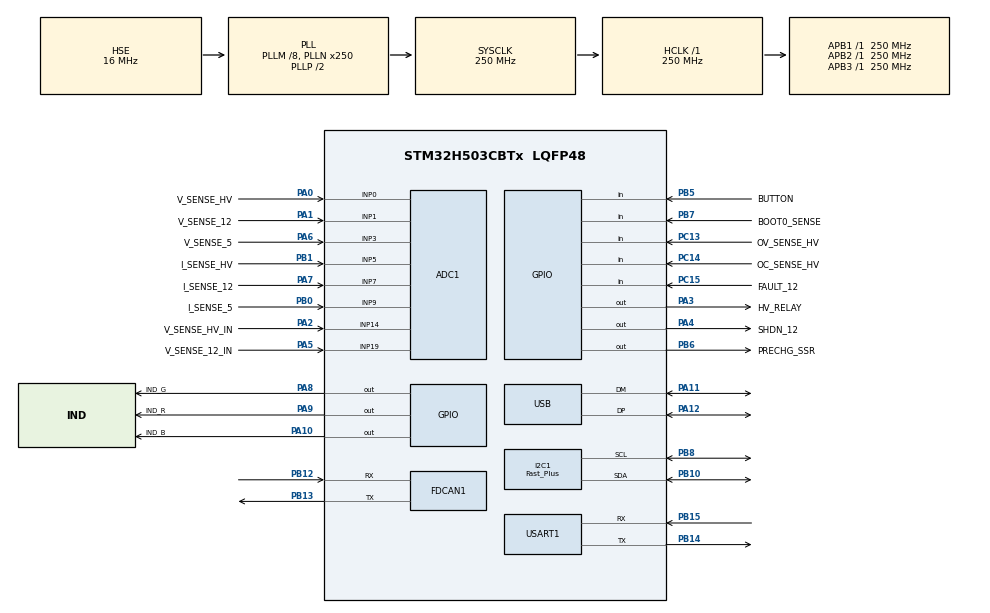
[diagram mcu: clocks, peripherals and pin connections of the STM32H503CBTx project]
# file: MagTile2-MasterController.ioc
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ADC1.Channel-0\#ChannelRegularConversion=ADC_CHANNEL_0
ADC1.Channel-1\#ChannelRegularConversion=ADC_CHANNEL_1
ADC1.Channel-2\#ChannelRegularConversion=ADC_CHANNEL_3
ADC1.Channel-3\#ChannelRegularConversion=ADC_CHANNEL_5
ADC1.Channel-4\#ChannelRegularConversion=ADC_CHANNEL_7
ADC1.Channel-5\#ChannelRegularConversion=ADC_CHANNEL_9
ADC1.Channel-6\#ChannelRegularConversion=ADC_CHANNEL_14
ADC1.Channel-7\#ChannelRegularConversion=ADC_CHANNEL_19
ADC1.ContinuousConvMode=ENABLE
ADC1.DMAContinuousRequests=ENABLE
ADC1.MonitoredBy-0\#ChannelRegularConversion=__NULL
ADC1.MonitoredBy-1\#ChannelRegularConversion=__NULL
ADC1.MonitoredBy-2\#ChannelRegularConversion=__NULL
ADC1.MonitoredBy-3\#ChannelRegularConversion=__NULL
ADC1.MonitoredBy-4\#ChannelRegularConversion=__NULL
ADC1.MonitoredBy-5\#ChannelRegularConversion=__NULL
ADC1.MonitoredBy-6\#ChannelRegularConversion=__NULL
ADC1.MonitoredBy-7\#ChannelRegularConversion=__NULL
ADC1.NbrOfConversion=8
ADC1.NbrOfConversionFlag=1
ADC1.OffsetNumber-0\#ChannelRegularConversion=ADC_OFFSET_NONE
ADC1.OffsetNumber-1\#ChannelRegularConversion=ADC_OFFSET_NONE
ADC1.OffsetNumber-2\#ChannelRegularConversion=ADC_OFFSET_NONE
ADC1.OffsetNumber-3\#ChannelRegularConversion=ADC_OFFSET_NONE
ADC1.OffsetNumber-4\#ChannelRegularConversion=ADC_OFFSET_NONE
ADC1.OffsetNumber-5\#ChannelRegularConversion=ADC_OFFSET_NONE
ADC1.OffsetNumber-6\#ChannelRegularConversion=ADC_OFFSET_NONE
ADC1.OffsetNumber-7\#ChannelRegularConversion=ADC_OFFSET_NONE
ADC1.OversamplingMode=ENABLE
ADC1.Rank-0\#ChannelRegularConversion=1
ADC1.Rank-1\#ChannelRegularConversion=2
ADC1.Rank-2\#ChannelRegularConversion=3
ADC1.Rank-3\#ChannelRegularConversion=4
ADC1.Rank-4\#ChannelRegularConversion=5
ADC1.Rank-5\#ChannelRegularConversion=6
ADC1.Rank-6\#ChannelRegularConversion=7
ADC1.Rank-7\#ChannelRegularConversion=8
ADC1.Ratio=ADC_OVERSAMPLING_RATIO_256
ADC1.RightBitShift=ADC_RIGHTBITSHIFT_4
ADC1.SamplingTime-0\#ChannelRegularConversion=ADC_SAMPLETIME_47CYCLES_5
ADC1.SamplingTime-1\#ChannelRegularConversion=ADC_SAMPLETIME_47CYCLES_5
ADC1.SamplingTime-2\#ChannelRegularConversion=ADC_SAMPLETIME_47CYCLES_5
ADC1.SamplingTime-3\#ChannelRegularConversion=ADC_SAMPLETIME_47CYCLES_5
ADC1.SamplingTime-4\#ChannelRegularConversion=ADC_SAMPLETIME_47CYCLES_5
ADC1.SamplingTime-5\#ChannelRegularConversion=ADC_SAMPLETIME_47CYCLES_5
ADC1.SamplingTime-6\#ChannelRegularConversion=ADC_SAMPLETIME_47CYCLES_5
ADC1.SamplingTime-7\#ChannelRegularConversion=ADC_SAMPLETIME_47CYCLES_5
ADC1.master=1
BOOTPATH.BootPathName=LEGACY
BOOTPATH.UserSelectedBootPath=LEGACY
DTS.Divider=100
DTS.SamplingTime=DTS_SMP_TIME_15_CYCLE
FDCAN1.CalculateBaudRateNominal=500000
FDCAN1.CalculateTimeBitNominal=2000
FDCAN1.CalculateTimeQuantumNominal=100.0
FDCAN1.DataPrescaler=6
FDCAN1.DataSyncJumpWidth=4
FDCAN1.DataTimeSeg1=16
FDCAN1.DataTimeSeg2=8
FDCAN1.FrameFormat=FDCAN_FRAME_FD_BRS
FDCAN1.NominalPrescaler=25
FDCAN1.NominalSyncJumpWidth=4
FDCAN1.NominalTimeSeg1=13
FDCAN1.NominalTimeSeg2=6
GPDMA1.CIRCULARMODE_GPDMACH0=ENABLE
GPDMA1.DESTDATAWIDTH_GPDMACH0=DMA_DEST_DATAWIDTH_HALFWORD
GPDMA1.DESTINC_GPDMACH0=DMA_DINC_INCREMENTED
GPDMA1.IPHANDLE_GPDMACH0-SIMPLEREQUEST_GPDMACH0=__NULL
GPDMA1.PRIORITY_LL_CIRCULAR_GPDMACH0=DMA_LOW_PRIORITY_HIGH_WEIGHT
GPDMA1.REQUEST_GPDMACH0=GPDMA1_REQUEST_ADC1
GPDMA1.SRCDATAWIDTH_GPDMACH0=DMA_SRC_DATAWIDTH_HALFWORD
I2C1.I2C_Speed_Mode=I2C_Fast_Plus
I2C1.Timing=0x00C035A6
Mcu.Family=STM32H5
Mcu.Name=STM32H503CBTx
Mcu.Package=LQFP48
NVIC.FDCAN1_IT0_IRQn=true\:0\:0\:false\:false\:true\:true\:true\:true
NVIC.FDCAN1_IT1_IRQn=true\:0\:0\:false\:false\:true\:true\:true\:true
NVIC.GPDMA1_Channel0_IRQn=true\:0\:0\:false\:false\:true\:false\:true\:true
NVIC.PriorityGroup=NVIC_PRIORITYGROUP_4
NVIC.USART1_IRQn=true\:0\:0\:false\:false\:true\:true\:true\:true
NVIC.USB_DRD_FS_IRQn=true\:0\:0\:false\:false\:true\:true\:true\:true
PA0.GPIO_Label=V_SENSE_HV
PA0.Signal=ADCx_INP0
PA1.GPIO_Label=V_SENSE_12
PA1.Signal=ADCx_INP1
PA10.GPIO_Label=IND_B
PA10.GPIO_ModeDefaultOutputPP=GPIO_MODE_OUTPUT_OD
PA10.GPIO_PuPd=GPIO_NOPULL
PA10.PinState=GPIO_PIN_RESET
PA10.Signal=GPIO_Output
PA11.Mode=Device
PA11.Signal=USB_DM
PA12.Mode=Device
PA12.Signal=USB_DP
PA13(JTMS/SWDIO).GPIO_Label=SWDIO
PA13(JTMS/SWDIO).Mode=Trace_Asynchronous_SW
PA13(JTMS/SWDIO).Signal=DEBUG_JTMS-SWDIO
PA14(JTCK/SWCLK).GPIO_Label=SWCLK
PA14(JTCK/SWCLK).Mode=Trace_Asynchronous_SW
PA14(JTCK/SWCLK).Signal=DEBUG_JTCK-SWCLK
PA2.GPIO_Label=V_SENSE_HV_IN
PA2.Signal=ADCx_INP14
PA3.GPIO_Label=HV_RELAY
PA3.Signal=GPIO_Output
PA4.GPIO_Label=SHDN_12
PA4.Signal=GPIO_Output
PA5.GPIO_Label=V_SENSE_12_IN
PA5.Signal=ADCx_INP19
PA6.GPIO_Label=V_SENSE_5
PA6.Signal=ADCx_INP3
PA7.GPIO_Label=I_SENSE_12
PA7.Signal=ADCx_INP7
PA8.GPIO_Label=IND_G
PA8.GPIO_ModeDefaultOutputPP=GPIO_MODE_OUTPUT_OD
PA8.GPIO_PuPd=GPIO_NOPULL
PA8.PinState=GPIO_PIN_RESET
PA8.Signal=GPIO_Output
PA9.GPIO_Label=IND_R
PA9.GPIO_ModeDefaultOutputPP=GPIO_MODE_OUTPUT_OD
PA9.GPIO_PuPd=GPIO_NOPULL
PA9.PinState=GPIO_PIN_RESET
PA9.Signal=GPIO_Output
PB0.GPIO_Label=I_SENSE_5
PB0.Signal=ADCx_INP9
PB1.GPIO_Label=I_SENSE_HV
PB1.Signal=ADCx_INP5
PB10.GPIO_Pu=GPIO_NOPULL
PB10.Mode=I2C
PB10.Signal=I2C1_SDA
PB12.Mode=FDCAN_Activate
PB12.Signal=FDCAN1_RX
PB13.Mode=FDCAN_Activate
PB13.Signal=FDCAN1_TX
PB14.Mode=Asynchronous
PB14.Signal=USART1_TX
PB15.Mode=Asynchronous
PB15.Signal=USART1_RX
PB3(JTDO/TRACESWO).GPIO_Label=SWO
PB3(JTDO/TRACESWO).Mode=Trace_Asynchronous_SW
PB3(JTDO/TRACESWO).Signal=DEBUG_JTDO-SWO
PB5.GPIO_Label=BUTTON
PB5.Signal=GPIO_Input
PB6.GPIO_Label=PRECHG_SSR
PB6.Signal=GPIO_Output
PB7.GPIO_Label=BOOT0_SENSE
PB7.Signal=GPIO_Input
PB8.GPIO_Pu=GPIO_NOPULL
PB8.Mode=I2C
PB8.Signal=I2C1_SCL
PC13.GPIO_Label=OV_SENSE_HV
PC13.Signal=GPIO_Input
PC14-OSC32_IN(OSC32_IN).GPIO_Label=OC_SENSE_HV
PC14-OSC32_IN(OSC32_IN).Signal=GPIO_Input
PC15-OSC32_OUT(OSC32_OUT).GPIO_Label=FAULT_12
PC15-OSC32_OUT(OSC32_OUT).Signal=GPIO_Input
PH0-OSC_IN(PH0).Mode=HSE-External-Oscillator
PH0-OSC_IN(PH0).Signal=RCC_OSC_IN
PH1-OSC_OUT(PH1).Mode=HSE-External-Oscillator
PH1-OSC_OUT(PH1).Signal=RCC_OSC_OUT
ProjectManager.HeapSize=0x200
ProjectManager.StackSize=0x400
ProjectManager.TargetToolchain=STM32CubeIDE
RCC.ADCCLockSelection=RCC_ADCDACCLKSOURCE_PLL2R
RCC.ADCFreq_Value=25000000
RCC.AHBFreq_Value=250000000
RCC.APB1Freq_Value=250000000
RCC.APB1TimFreq_Value=250000000
RCC.APB2Freq_Value=250000000
RCC.APB2TimFreq_Value=250000000
RCC.APB3Freq_Value=250000000
RCC.CSI_VALUE=4000000
RCC.CortexFreq_Value=250000000
RCC.EPOD_VALUE=16000000
RCC.FDCANClockSelection=RCC_FDCANCLKSOURCE_PLL1Q
RCC.HCLKFreq_Value=250000000
RCC.HSE_VALUE=16000000
RCC.HSI48_VALUE=48000000
RCC.HSI_VALUE=64000000
RCC.LSE_VALUE=32768
RCC.LSIRC_VALUE=32000
RCC.PLL2M=8
RCC.PLL2N=100
RCC.PLL2R=8
RCC.PLL2Source=RCC_PLL2_SOURCE_HSE
RCC.PLLM=8
RCC.PLLN=250
RCC.PLLSourceVirtual=RCC_PLL1_SOURCE_HSE
RCC.SYSCLKFreq_VALUE=250000000
RCC.SYSCLKSource=RCC_SYSCLKSOURCE_PLLCLK
RCC.USBFreq_Value=48000000
RCC.VCOOutputFreq_Value=500000000
RCC.VDD_VALUE=3
SH.ADCx_INP0.0=ADC1_INP0,IN0-Single-Ended
SH.ADCx_INP1.0=ADC1_INP1,IN1-Single-Ended
SH.ADCx_INP14.0=ADC1_INP14,IN14-Single-Ended
SH.ADCx_INP19.0=ADC1_INP19,IN19-Single-Ended
SH.ADCx_INP3.0=ADC1_INP3,IN3-Single-Ended
SH.ADCx_INP5.0=ADC1_INP5,IN5-Single-Ended
SH.ADCx_INP7.0=ADC1_INP7,IN7-Single-Ended
SH.ADCx_INP9.0=ADC1_INP9,IN9-Single-Ended
USART1.VirtualMode-Asynchronous=VM_ASYNC
USB.Sof_enable-Device=ENABLE
USB.VirtualMode=Device_Only
VP_ADC1_TempSens_Input.Mode=IN-TempSens
VP_ADC1_Vcore_Input.Mode=IN-Vcore
VP_BOOTPATH_VS_BOOTPATH.Mode=BP_Activate
VP_CORTEX_M33_NS_VS_Hclk.Mode=Hclk_Mode
VP_DTS_VS-DTS.Mode=DTS
VP_FLASH_SIG_Activate_FlashIP.Mode=Activate_FlashIP
VP_GPDMA1_VS_GPDMACH0.Mode=SIMPLEREQUEST_GPDMACH0
VP_ICACHE_VS_ICACHE.Mode=DirectMappedCache
VP_MEMORYMAP_VS_MEMORYMAP.Mode=CurAppReg
VP_PWR_VS_DBSignals.Mode=DisableDeadBatterySignals
VP_PWR_VS_LPOM.Mode=PowerOptimisation
VP_PWR_VS_SECSignals.Mode=Security/Privilege
board=custom

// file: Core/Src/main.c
/* USER CODE BEGIN Header */
/**
 ******************************************************************************
 * @file           : main.c
 * @brief          : Main program body
 ******************************************************************************
 * @attention
 *
 * Copyright (c) 2025 STMicroelectronics.
 * All rights reserved.
 *
 * This software is licensed under terms that can be found in the LICENSE file
 * in the root directory of this software component.
 * If no LICENSE file comes with this software, it is provided AS-IS.
 *
 ******************************************************************************
 */
/* USER CODE END Header */
#include "main.h"

/* USER CODE BEGIN Includes */

#include "tusb.h"
#include <stdio.h>
#include "i2c_master.h"
#include "mt2_types.h"
#include "can.h"
#include "adc.h"
#include "reporter.h"
#include "safety_config.h"
#include "uart.h"
#include "serial_terminal.h"

/* USER CODE END Includes */

ADC_HandleTypeDef hadc1;
DMA_NodeTypeDef Node_GPDMA1_Channel0;
DMA_QListTypeDef List_GPDMA1_Channel0;
DMA_HandleTypeDef handle_GPDMA1_Channel0;

DTS_HandleTypeDef hdts;

FDCAN_HandleTypeDef hfdcan1;

I2C_HandleTypeDef hi2c1;

UART_HandleTypeDef huart1;

PCD_HandleTypeDef hpcd_USB_DRD_FS;

/* USER CODE BEGIN PV */

// make global variables for all digital inputs
uint8_t OV_SENSE_HV;
uint8_t OC_SENSE_HV;
uint8_t FAULT_12;
uint8_t BUTTON;
uint8_t BOOT0_SENSE;

// button last state
uint8_t BUTTON_LAST = 0;

MT2_Master_PowerSwitchStatus power_switch_status;
MT2_Master_PowerSystemFaults power_system_faults;
MT2_Master_UsbInterfaceStatus usb_interface_status;
MT2_Global_State global_state;

uint8_t lights_activated = 0;

uint8_t clear_faults_requested = 0;

// HV state machine
uint8_t hv_active = 0;
uint8_t hv_activated_by_cdc = 0; // tells us whether to send ok response to cdc, whether to disable when disconnected
uint8_t precharge_complete = 0;

// make global variables for all digital outputs
extern uint8_t HV_RELAY;
uint8_t HV_RELAY = 0;
uint8_t SHDN_12 = 0;
uint8_t IND_R = 1;
uint8_t IND_G = 1;
uint8_t IND_B = 0;
uint8_t PRECHG_SSR = 0;

float vddcore;
int16_t mcu_temp;

int buffer_available_cdc = -2;
int buffer_available_vendor_0 = -2;
int buffer_available_vendor_1 = -2;
int buffer_available_vendor_2 = -2;

/* USER CODE END PV */

void SystemClock_Config(void);
static void MX_GPIO_Init(void);
static void MX_GPDMA1_Init(void);
static void MX_ADC1_Init(void);
static void MX_FLASH_Init(void);
static void MX_I2C1_Init(void);
static void MX_USART1_UART_Init(void);
static void MX_ICACHE_Init(void);
static void MX_USB_PCD_Init(void);
static void MX_FDCAN1_Init(void);
static void MX_DTS_Init(void);

/* USER CODE BEGIN 0 */

void set_rgb(uint8_t r, uint8_t g, uint8_t b) {
	IND_R = r;
	IND_G = g;
	IND_B = b;
}

// Loop time
uint32_t loop_time_start = 0;
uint32_t loop_time = 0;

// Precharge time
uint32_t precharge_time_start = 0;

// other
uint8_t can_blink = 0;

/* USER CODE END 0 */

int main(void)
{

  /* MCU Configuration--------------------------------------------------------*/

  /* Reset of all peripherals, Initializes the Flash interface and the Systick. */
  HAL_Init();

  /* Configure the system clock */
  SystemClock_Config();

  /* Initialize all configured peripherals */
  MX_GPIO_Init();
  MX_GPDMA1_Init();
  MX_ADC1_Init();
  MX_FLASH_Init();
  MX_I2C1_Init();
  MX_USART1_UART_Init();
  MX_ICACHE_Init();
  MX_USB_PCD_Init();
  MX_FDCAN1_Init();
  MX_DTS_Init();
  /* USER CODE BEGIN 2 */

	// start USB
	tusb_init();

	uint32_t inactivity_interval_start = HAL_GetTick();

	ADC_Init(&hadc1);

//	I2C_Init(&hi2c1);

	CAN_Init(&hfdcan1);

	UART_Init(&huart1);

	HAL_DTS_Init(&hdts);
	HAL_DTS_Start(&hdts);

  /* USER CODE END 2 */

  /* Infinite loop */
  /* USER CODE BEGIN WHILE */
	loop_time_start = HAL_GetTick();
	while (1) {
    /* USER CODE END WHILE */

    /* USER CODE BEGIN 3 */

		// read all digital inputs
		OV_SENSE_HV = HAL_GPIO_ReadPin(OV_SENSE_HV_GPIO_Port, OV_SENSE_HV_Pin);
		OC_SENSE_HV = HAL_GPIO_ReadPin(OC_SENSE_HV_GPIO_Port, OC_SENSE_HV_Pin);
		FAULT_12 = HAL_GPIO_ReadPin(FAULT_12_GPIO_Port, FAULT_12_Pin);
		BUTTON = HAL_GPIO_ReadPin(BUTTON_GPIO_Port, BUTTON_Pin);
		BOOT0_SENSE = HAL_GPIO_ReadPin(BOOT0_SENSE_GPIO_Port, BOOT0_SENSE_Pin);

		// read temp from DTS
		int32_t dts_temp = 0;
		HAL_DTS_GetTemperature(&hdts, &dts_temp);
		mcu_temp = dts_temp;

		// clear faults if requested
		if (clear_faults_requested) {
			power_system_faults.byte = 0;
			power_switch_status.flags.hv_shutdown_from_fault = 0;
			global_state.flags.global_fault_clear = 1;
			clear_faults_requested = 0;
		}

		// reset all fault flags if normal shutdown
		if (!power_switch_status.flags.hv_shutdown_from_fault) {
			power_system_faults.byte = 0;
		}

		// Check all fault thresholds
		if (v_sense_hv > TH_OV_HV) power_system_faults.flags.ov_hv = 1;
		if (v_sense_hv_in > TH_OV_HV) power_system_faults.flags.ov_hv = 1;
		if (v_sense_hv < TH_UV_HV) power_system_faults.flags.uv_hv = 1;
		if (v_sense_hv_in < TH_UV_HV) power_system_faults.flags.uv_hv = 1;
//		if (i_sense_hv > TH_OC_HV) power_system_faults.flags.oc_hv = 1;

		if (v_sense_12 > TH_OV_12) power_system_faults.flags.ov_12v = 1;
		if (v_sense_12_in > TH_OV_12) power_system_faults.flags.ov_12v = 1;
		if (v_sense_12 < TH_UV_12) power_system_faults.flags.uv_12v = 1;
		if (v_sense_12_in < TH_UV_12) power_system_faults.flags.uv_12v = 1;
		if (i_sense_12 > TH_OC_12) power_system_faults.flags.oc_12v = 1;

		if (v_sense_5 > TH_OV_5) power_system_faults.flags.ov_5v = 1;
		if (v_sense_5 < TH_UV_5) power_system_faults.flags.uv_5v = 1;
		if (i_sense_5 > TH_OC_5) power_system_faults.flags.oc_5v = 1;

		if (mcu_temp > TH_OVERTEMP_MCU) power_system_faults.flags.master_overtemp = 1;

		// check other fault reasons
		if (!FAULT_12) power_system_faults.flags.efuse_12v_fault = 1;
		if (!OV_SENSE_HV) power_system_faults.flags.ov_hv = 1;
		if (!OC_SENSE_HV) power_system_faults.flags.oc_hv = 1;

		// button logic
		if ((BUTTON || BOOT0_SENSE) && !BUTTON_LAST) { // on button push
			if (!lights_activated) {
				lights_activated = 1;
			} else {
				if (power_system_faults.byte) { // if there are faults, button clears them
					clear_faults_requested = 1;
				} else {
					hv_active = !hv_active;
				}
			}
		}
		BUTTON_LAST = BUTTON || BOOT0_SENSE;

		// hv state machine
		if (hv_active && hv_activated_by_cdc && !usb_interface_status.flags.cdc_active) { // CDC activated HV then abandoned (once)
			hv_active = 0;
		}
		if (hv_active && !PRECHG_SSR) { // HV just requested (once)
			precharge_time_start = HAL_GetTick();
		}
		PRECHG_SSR = hv_active; // precharge SSR always matches HV state
		if (hv_active) {
			if (v_sense_hv > v_sense_hv_in * (1 - TH_PRECHG_VDROP) && v_sense_hv < v_sense_hv_in * (1 + TH_PRECHG_VDROP)) {
				// output within precharge thresholds (repeatedly)
				precharge_complete = 1;
			}
			if (precharge_complete) { // last precharge was successful (repeatedly)
				if (!HV_RELAY) { // precharge just completed (once)
					if (hv_activated_by_cdc) { // tell CDC that its "arm" command was successful (once)
						SerialTerminal_ReplyOk("arm");
					}
				}
				HV_RELAY = 1;
			} else if (HAL_GetTick() - precharge_time_start > TH_PRECHG_TIMEOUT) { // precharge just failed (once)
				power_system_faults.flags.precharge_fault = 1;
				if (hv_activated_by_cdc) { // tell CDC that its "arm" command failed (once)
					SerialTerminal_ReplyError("arm : precharge failed");
				}
			} // otherwise, we are still precharging
		} else {
			HV_RELAY = 0;
			PRECHG_SSR = 0;
			precharge_complete = 0;
			hv_activated_by_cdc = 0; // reset the flag when HV is deactivated
		}

		// clear all setpoints if the HV relay is off
		if (!HV_RELAY) {
			memset(coil_setpoints, 0, sizeof(coil_setpoints));
		}

		// process tile data to check for faults
		for (uint8_t i = 0; i < MAX_TILES; i++) {
			if (tile_last_seen[i] + ALIVE_TIMEOUT < HAL_GetTick() && tile_data[i].slave_status.flags.alive) {
				tile_data[i].slave_status.flags.alive = 0;
				if (hv_active) power_system_faults.flags.communication_fault = 1;
			}
			if (tile_data[i].slave_status.flags.alive) {
				if (tile_data[i].slave_faults.byte) {
					power_system_faults.flags.slave_fault = 1;
				}
			}
		}

		if (power_system_faults.byte && hv_active) {
			hv_active = 0;
			power_switch_status.flags.hv_shutdown_from_fault = 1;
			HV_RELAY = 0;
			PRECHG_SSR = 0;
		}

		power_switch_status.flags.hv_relay_on = HV_RELAY;
		power_switch_status.flags.precharge_ssr_on = PRECHG_SSR;
		power_switch_status.flags.shdn_12_on = SHDN_12;
		power_switch_status.flags.fault_12 = !FAULT_12;
		power_switch_status.flags.hv_ready = !power_system_faults.byte;

		global_state.flags.global_arm = HV_RELAY;

		global_state.flags.global_led_disable = !lights_activated;

		if (lights_activated) {
			// set LED
			if (HV_RELAY) {
				set_rgb(0, 0, 1); // Blue: Relay on (armed)
			} else if (hv_active && !precharge_complete) {
				set_rgb(0, 1, 1); // Cyan: Precharging
			} else if (power_switch_status.flags.hv_ready) {
				set_rgb(0, 1, 0); // Green: Ready to arm
			} else if (power_switch_status.flags.hv_shutdown_from_fault) {
				set_rgb(1, 0, 0); // Red: Fault
			} else {
				MT2_Master_PowerSystemFaults red_faults = power_system_faults;
				// clear fault flags that are not critical
				red_faults.flags.uv_5v = 0;
				red_faults.flags.uv_12v = 0;
				red_faults.flags.efuse_12v_fault = 0;
				if (red_faults.byte) {
					set_rgb(1, 0, 0); // Red: Fault
				} else {
					if (power_system_faults.flags.uv_5v && power_system_faults.flags.uv_12v) {
						set_rgb(1, 1, 0); // Yellow: Both 5v and 12v missing, assume cable unplugged
					} else {
						set_rgb(1, 0, 0); // Red: Only one is missing, bigger problem likely
					}
				}
			}
		} else {
			set_rgb(0, 0, 0);
		}

		// Write digital outputs
		HAL_GPIO_WritePin(HV_RELAY_GPIO_Port, HV_RELAY_Pin, HV_RELAY);
		HAL_GPIO_WritePin(SHDN_12_GPIO_Port, SHDN_12_Pin, SHDN_12);
		HAL_GPIO_WritePin(IND_R_GPIO_Port, IND_R_Pin, !IND_R);
		HAL_GPIO_WritePin(IND_G_GPIO_Port, IND_G_Pin, !IND_G);
		HAL_GPIO_WritePin(IND_B_GPIO_Port, IND_B_Pin, !IND_B);
		HAL_GPIO_WritePin(PRECHG_SSR_GPIO_Port, PRECHG_SSR_Pin, PRECHG_SSR);

		// update additional variables

		usb_interface_status.flags.vendor_active = tud_vendor_mounted();
		usb_interface_status.flags.cdc_active = tud_cdc_connected();

		if (HAL_GetTick() - inactivity_interval_start > 100) {
			inactivity_interval_start = HAL_GetTick();
			TileData_MarkInactiveTiles();
			if (!hv_active) TileData_ComputeCoordinates();
		}

		// Handle CAN failure
		CAN_KeepAlive();

//		I2C_ReadAllTiles_StatusOnly();
//		I2C_IterativeReadAllTiles();
//		I2C_ReadTileReg(0x01, 0x0A, &mt2_slave_data[0x01].v_sense_hv, 4);

		TileData_IterativeSendSetpoints();

		Reporter_IterativeReportMaster();
		for (int i = 0; i < 32; i++) {
			Reporter_IterativeReportAllTiles();
		}
		tud_task();
	}
  /* USER CODE END 3 */
}

void SystemClock_Config(void)
{
  RCC_OscInitTypeDef RCC_OscInitStruct = {0};
  RCC_ClkInitTypeDef RCC_ClkInitStruct = {0};

  /** Configure the main internal regulator output voltage
  */
  __HAL_PWR_VOLTAGESCALING_CONFIG(PWR_REGULATOR_VOLTAGE_SCALE0);

  while(!__HAL_PWR_GET_FLAG(PWR_FLAG_VOSRDY)) {}

  /** Initializes the RCC Oscillators according to the specified parameters
  * in the RCC_OscInitTypeDef structure.
  */
  RCC_OscInitStruct.OscillatorType = RCC_OSCILLATORTYPE_HSI48|RCC_OSCILLATORTYPE_HSE;
  RCC_OscInitStruct.HSEState = RCC_HSE_ON;
  RCC_OscInitStruct.HSI48State = RCC_HSI48_ON;
  RCC_OscInitStruct.PLL.PLLState = RCC_PLL_ON;
  RCC_OscInitStruct.PLL.PLLSource = RCC_PLL1_SOURCE_HSE;
  RCC_OscInitStruct.PLL.PLLM = 8;
  RCC_OscInitStruct.PLL.PLLN = 250;
  RCC_OscInitStruct.PLL.PLLP = 2;
  RCC_OscInitStruct.PLL.PLLQ = 2;
  RCC_OscInitStruct.PLL.PLLR = 2;
  RCC_OscInitStruct.PLL.PLLRGE = RCC_PLL1_VCIRANGE_1;
  RCC_OscInitStruct.PLL.PLLVCOSEL = RCC_PLL1_VCORANGE_WIDE;
  RCC_OscInitStruct.PLL.PLLFRACN = 0;
  if (HAL_RCC_OscConfig(&RCC_OscInitStruct) != HAL_OK)
  {
    Error_Handler();
  }

  /** Initializes the CPU, AHB and APB buses clocks
  */
  RCC_ClkInitStruct.ClockType = RCC_CLOCKTYPE_HCLK|RCC_CLOCKTYPE_SYSCLK
                              |RCC_CLOCKTYPE_PCLK1|RCC_CLOCKTYPE_PCLK2
                              |RCC_CLOCKTYPE_PCLK3;
  RCC_ClkInitStruct.SYSCLKSource = RCC_SYSCLKSOURCE_PLLCLK;
  RCC_ClkInitStruct.AHBCLKDivider = RCC_SYSCLK_DIV1;
  RCC_ClkInitStruct.APB1CLKDivider = RCC_HCLK_DIV1;
  RCC_ClkInitStruct.APB2CLKDivider = RCC_HCLK_DIV1;
  RCC_ClkInitStruct.APB3CLKDivider = RCC_HCLK_DIV1;

  if (HAL_RCC_ClockConfig(&RCC_ClkInitStruct, FLASH_LATENCY_5) != HAL_OK)
  {
    Error_Handler();
  }

  /** Configure the programming delay
  */
  __HAL_FLASH_SET_PROGRAM_DELAY(FLASH_PROGRAMMING_DELAY_2);
}

static void MX_ADC1_Init(void)
{

  ADC_ChannelConfTypeDef sConfig = {0};

  /** Common config
  */
  hadc1.Instance = ADC1;
  hadc1.Init.ClockPrescaler = ADC_CLOCK_ASYNC_DIV1;
  hadc1.Init.Resolution = ADC_RESOLUTION_12B;
  hadc1.Init.DataAlign = ADC_DATAALIGN_RIGHT;
  hadc1.Init.ScanConvMode = ADC_SCAN_ENABLE;
  hadc1.Init.EOCSelection = ADC_EOC_SINGLE_CONV;
  hadc1.Init.LowPowerAutoWait = DISABLE;
  hadc1.Init.ContinuousConvMode = ENABLE;
  hadc1.Init.NbrOfConversion = 8;
  hadc1.Init.DiscontinuousConvMode = DISABLE;
  hadc1.Init.ExternalTrigConv = ADC_SOFTWARE_START;
  hadc1.Init.ExternalTrigConvEdge = ADC_EXTERNALTRIGCONVEDGE_NONE;
  hadc1.Init.DMAContinuousRequests = ENABLE;
  hadc1.Init.SamplingMode = ADC_SAMPLING_MODE_NORMAL;
  hadc1.Init.Overrun = ADC_OVR_DATA_PRESERVED;
  hadc1.Init.OversamplingMode = ENABLE;
  hadc1.Init.Oversampling.Ratio = ADC_OVERSAMPLING_RATIO_256;
  hadc1.Init.Oversampling.RightBitShift = ADC_RIGHTBITSHIFT_4;
  hadc1.Init.Oversampling.TriggeredMode = ADC_TRIGGEREDMODE_SINGLE_TRIGGER;
  hadc1.Init.Oversampling.OversamplingStopReset = ADC_REGOVERSAMPLING_CONTINUED_MODE;
  if (HAL_ADC_Init(&hadc1) != HAL_OK)
  {
    Error_Handler();
  }

  /** Configure Regular Channel
  */
  sConfig.Channel = ADC_CHANNEL_0;
  sConfig.Rank = ADC_REGULAR_RANK_1;
  sConfig.SamplingTime = ADC_SAMPLETIME_47CYCLES_5;
  sConfig.SingleDiff = ADC_SINGLE_ENDED;
  sConfig.OffsetNumber = ADC_OFFSET_NONE;
  sConfig.Offset = 0;
  if (HAL_ADC_ConfigChannel(&hadc1, &sConfig) != HAL_OK)
  {
    Error_Handler();
  }

  /** Configure Regular Channel
  */
  sConfig.Channel = ADC_CHANNEL_1;
  sConfig.Rank = ADC_REGULAR_RANK_2;
  if (HAL_ADC_ConfigChannel(&hadc1, &sConfig) != HAL_OK)
  {
    Error_Handler();
  }

  /** Configure Regular Channel
  */
  sConfig.Channel = ADC_CHANNEL_3;
  sConfig.Rank = ADC_REGULAR_RANK_3;
  if (HAL_ADC_ConfigChannel(&hadc1, &sConfig) != HAL_OK)
  {
    Error_Handler();
  }

  /** Configure Regular Channel
  */
  sConfig.Channel = ADC_CHANNEL_5;
  sConfig.Rank = ADC_REGULAR_RANK_4;
  if (HAL_ADC_ConfigChannel(&hadc1, &sConfig) != HAL_OK)
  {
    Error_Handler();
  }

  /** Configure Regular Channel
  */
  sConfig.Channel = ADC_CHANNEL_7;
  sConfig.Rank = ADC_REGULAR_RANK_5;
  if (HAL_ADC_ConfigChannel(&hadc1, &sConfig) != HAL_OK)
  {
    Error_Handler();
  }

  /** Configure Regular Channel
  */
  sConfig.Channel = ADC_CHANNEL_9;
  sConfig.Rank = ADC_REGULAR_RANK_6;
  if (HAL_ADC_ConfigChannel(&hadc1, &sConfig) != HAL_OK)
  {
    Error_Handler();
  }

  /** Configure Regular Channel
  */
  sConfig.Channel = ADC_CHANNEL_14;
  sConfig.Rank = ADC_REGULAR_RANK_7;
  if (HAL_ADC_ConfigChannel(&hadc1, &sConfig) != HAL_OK)
  {
    Error_Handler();
  }

  /** Configure Regular Channel
  */
  sConfig.Channel = ADC_CHANNEL_19;
  sConfig.Rank = ADC_REGULAR_RANK_8;
  if (HAL_ADC_ConfigChannel(&hadc1, &sConfig) != HAL_OK)
  {
    Error_Handler();
  }

}

static void MX_DTS_Init(void)
{

  hdts.Instance = DTS;
  hdts.Init.QuickMeasure = DTS_QUICKMEAS_DISABLE;
  hdts.Init.RefClock = DTS_REFCLKSEL_PCLK;
  hdts.Init.TriggerInput = DTS_TRIGGER_HW_NONE;
  hdts.Init.SamplingTime = DTS_SMP_TIME_15_CYCLE;
  hdts.Init.Divider = 100;
  hdts.Init.HighThreshold = 0x0;
  hdts.Init.LowThreshold = 0x0;
  if (HAL_DTS_Init(&hdts) != HAL_OK)
  {
    Error_Handler();
  }

}

static void MX_FDCAN1_Init(void)
{

  hfdcan1.Instance = FDCAN1;
  hfdcan1.Init.ClockDivider = FDCAN_CLOCK_DIV1;
  hfdcan1.Init.FrameFormat = FDCAN_FRAME_FD_BRS;
  hfdcan1.Init.Mode = FDCAN_MODE_NORMAL;
  hfdcan1.Init.AutoRetransmission = DISABLE;
  hfdcan1.Init.TransmitPause = DISABLE;
  hfdcan1.Init.ProtocolException = DISABLE;
  hfdcan1.Init.NominalPrescaler = 25;
  hfdcan1.Init.NominalSyncJumpWidth = 4;
  hfdcan1.Init.NominalTimeSeg1 = 13;
  hfdcan1.Init.NominalTimeSeg2 = 6;
  hfdcan1.Init.DataPrescaler = 6;
  hfdcan1.Init.DataSyncJumpWidth = 4;
  hfdcan1.Init.DataTimeSeg1 = 16;
  hfdcan1.Init.DataTimeSeg2 = 8;
  hfdcan1.Init.StdFiltersNbr = 0;
  hfdcan1.Init.ExtFiltersNbr = 0;
  hfdcan1.Init.TxFifoQueueMode = FDCAN_TX_FIFO_OPERATION;
  if (HAL_FDCAN_Init(&hfdcan1) != HAL_OK)
  {
    Error_Handler();
  }

}

static void MX_FLASH_Init(void)
{

  if (HAL_FLASH_Unlock() != HAL_OK)
  {
    Error_Handler();
  }
  if (HAL_FLASH_Lock() != HAL_OK)
  {
    Error_Handler();
  }

}

static void MX_GPDMA1_Init(void)
{

  /* Peripheral clock enable */
  __HAL_RCC_GPDMA1_CLK_ENABLE();

  /* GPDMA1 interrupt Init */
    HAL_NVIC_SetPriority(GPDMA1_Channel0_IRQn, 0, 0);
    HAL_NVIC_EnableIRQ(GPDMA1_Channel0_IRQn);

}

static void MX_I2C1_Init(void)
{

  hi2c1.Instance = I2C1;
  hi2c1.Init.Timing = 0x00C035A6;
  hi2c1.Init.OwnAddress1 = 0;
  hi2c1.Init.AddressingMode = I2C_ADDRESSINGMODE_7BIT;
  hi2c1.Init.DualAddressMode = I2C_DUALADDRESS_DISABLE;
  hi2c1.Init.OwnAddress2 = 0;
  hi2c1.Init.OwnAddress2Masks = I2C_OA2_NOMASK;
  hi2c1.Init.GeneralCallMode = I2C_GENERALCALL_DISABLE;
  hi2c1.Init.NoStretchMode = I2C_NOSTRETCH_DISABLE;
  if (HAL_I2C_Init(&hi2c1) != HAL_OK)
  {
    Error_Handler();
  }

  /** Configure Analogue filter
  */
  if (HAL_I2CEx_ConfigAnalogFilter(&hi2c1, I2C_ANALOGFILTER_ENABLE) != HAL_OK)
  {
    Error_Handler();
  }

  /** Configure Digital filter
  */
  if (HAL_I2CEx_ConfigDigitalFilter(&hi2c1, 0) != HAL_OK)
  {
    Error_Handler();
  }

  /** I2C Fast mode Plus enable
  */
  if (HAL_I2CEx_ConfigFastModePlus(&hi2c1, I2C_FASTMODEPLUS_ENABLE) != HAL_OK)
  {
    Error_Handler();
  }

}

static void MX_ICACHE_Init(void)
{

  /** Enable instruction cache in 1-way (direct mapped cache)
  */
  if (HAL_ICACHE_ConfigAssociativityMode(ICACHE_1WAY) != HAL_OK)
  {
    Error_Handler();
  }
  if (HAL_ICACHE_Enable() != HAL_OK)
  {
    Error_Handler();
  }

}

static void MX_USART1_UART_Init(void)
{

  huart1.Instance = USART1;
  huart1.Init.BaudRate = 115200;
  huart1.Init.WordLength = UART_WORDLENGTH_8B;
  huart1.Init.StopBits = UART_STOPBITS_1;
  huart1.Init.Parity = UART_PARITY_NONE;
  huart1.Init.Mode = UART_MODE_TX_RX;
  huart1.Init.HwFlowCtl = UART_HWCONTROL_NONE;
  huart1.Init.OverSampling = UART_OVERSAMPLING_16;
  huart1.Init.OneBitSampling = UART_ONE_BIT_SAMPLE_DISABLE;
  huart1.Init.ClockPrescaler = UART_PRESCALER_DIV1;
  huart1.AdvancedInit.AdvFeatureInit = UART_ADVFEATURE_NO_INIT;
  if (HAL_UART_Init(&huart1) != HAL_OK)
  {
    Error_Handler();
  }
  if (HAL_UARTEx_SetTxFifoThreshold(&huart1, UART_TXFIFO_THRESHOLD_1_8) != HAL_OK)
  {
    Error_Handler();
  }
  if (HAL_UARTEx_SetRxFifoThreshold(&huart1, UART_RXFIFO_THRESHOLD_1_8) != HAL_OK)
  {
    Error_Handler();
  }
  if (HAL_UARTEx_DisableFifoMode(&huart1) != HAL_OK)
  {
    Error_Handler();
  }

}

static void MX_USB_PCD_Init(void)
{

  hpcd_USB_DRD_FS.Instance = USB_DRD_FS;
  hpcd_USB_DRD_FS.Init.dev_endpoints = 8;
  hpcd_USB_DRD_FS.Init.speed = USBD_FS_SPEED;
  hpcd_USB_DRD_FS.Init.phy_itface = PCD_PHY_EMBEDDED;
  hpcd_USB_DRD_FS.Init.Sof_enable = ENABLE;
  hpcd_USB_DRD_FS.Init.low_power_enable = DISABLE;
  hpcd_USB_DRD_FS.Init.lpm_enable = DISABLE;
  hpcd_USB_DRD_FS.Init.battery_charging_enable = DISABLE;
  hpcd_USB_DRD_FS.Init.vbus_sensing_enable = DISABLE;
  hpcd_USB_DRD_FS.Init.bulk_doublebuffer_enable = DISABLE;
  hpcd_USB_DRD_FS.Init.iso_singlebuffer_enable = DISABLE;
  if (HAL_PCD_Init(&hpcd_USB_DRD_FS) != HAL_OK)
  {
    Error_Handler();
  }

}

static void MX_GPIO_Init(void)
{
  GPIO_InitTypeDef GPIO_InitStruct = {0};

  /* GPIO Ports Clock Enable */
  __HAL_RCC_GPIOC_CLK_ENABLE();
  __HAL_RCC_GPIOH_CLK_ENABLE();
  __HAL_RCC_GPIOA_CLK_ENABLE();
  __HAL_RCC_GPIOB_CLK_ENABLE();

  /*Configure GPIO pin Output Level */
  HAL_GPIO_WritePin(GPIOA, HV_RELAY_Pin|SHDN_12_Pin|IND_G_Pin|IND_R_Pin
                          |IND_B_Pin, GPIO_PIN_RESET);

  /*Configure GPIO pin Output Level */
  HAL_GPIO_WritePin(PRECHG_SSR_GPIO_Port, PRECHG_SSR_Pin, GPIO_PIN_RESET);

  /*Configure GPIO pins : OV_SENSE_HV_Pin OC_SENSE_HV_Pin FAULT_12_Pin */
  GPIO_InitStruct.Pin = OV_SENSE_HV_Pin|OC_SENSE_HV_Pin|FAULT_12_Pin;
  GPIO_InitStruct.Mode = GPIO_MODE_INPUT;
  GPIO_InitStruct.Pull = GPIO_NOPULL;
  HAL_GPIO_Init(GPIOC, &GPIO_InitStruct);

  /*Configure GPIO pins : HV_RELAY_Pin SHDN_12_Pin */
  GPIO_InitStruct.Pin = HV_RELAY_Pin|SHDN_12_Pin;
  GPIO_InitStruct.Mode = GPIO_MODE_OUTPUT_PP;
  GPIO_InitStruct.Pull = GPIO_NOPULL;
  GPIO_InitStruct.Speed = GPIO_SPEED_FREQ_LOW;
  HAL_GPIO_Init(GPIOA, &GPIO_InitStruct);

  /*Configure GPIO pins : IND_G_Pin IND_R_Pin IND_B_Pin */
  GPIO_InitStruct.Pin = IND_G_Pin|IND_R_Pin|IND_B_Pin;
  GPIO_InitStruct.Mode = GPIO_MODE_OUTPUT_OD;
  GPIO_InitStruct.Pull = GPIO_NOPULL;
  GPIO_InitStruct.Speed = GPIO_SPEED_FREQ_LOW;
  HAL_GPIO_Init(GPIOA, &GPIO_InitStruct);

  /*Configure GPIO pins : BUTTON_Pin BOOT0_SENSE_Pin */
  GPIO_InitStruct.Pin = BUTTON_Pin|BOOT0_SENSE_Pin;
  GPIO_InitStruct.Mode = GPIO_MODE_INPUT;
  GPIO_InitStruct.Pull = GPIO_NOPULL;
  HAL_GPIO_Init(GPIOB, &GPIO_InitStruct);

  /*Configure GPIO pin : PRECHG_SSR_Pin */
  GPIO_InitStruct.Pin = PRECHG_SSR_Pin;
  GPIO_InitStruct.Mode = GPIO_MODE_OUTPUT_PP;
  GPIO_InitStruct.Pull = GPIO_NOPULL;
  GPIO_InitStruct.Speed = GPIO_SPEED_FREQ_LOW;
  HAL_GPIO_Init(PRECHG_SSR_GPIO_Port, &GPIO_InitStruct);

}

void Error_Handler(void)
{
	__disable_irq();
	while (1) {
	}
}
